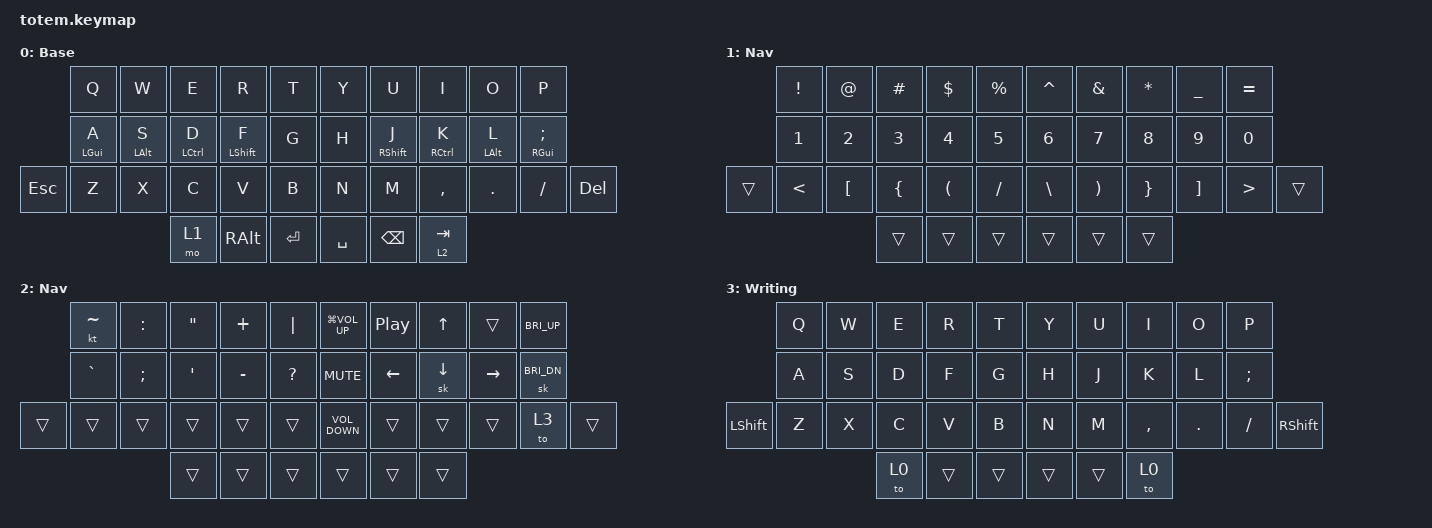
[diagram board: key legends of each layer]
//
//                                                        ▀▀▀▀▀     ▀▀▀▀▀          ▀▀█▀▀
//                                                        ▄▀▀▀▄  ▄  ▄▀▀▀▄  ▄  ▄▀▀▀▄  █  ▄▀▀▀▄
//                                                        █   █  █  █   █  █  █   █  █  █   █
//                                                         ▀▀▀   █   ▀▀▀   █   ▀▀▀   ▀   ▀▀▀
//                                                               █      ▄▄▄█▄▄▄    █   █  
//                                                               ▀      █  █  █     █▄█
//                                                             ▀▀▀▀▀    █  █  █      ▀
//                                                                      ▀  ▀  ▀
//
// ▄▄▄▄▄▄▄▄▄▄▄▄▄▄▄▄▄▄▄▄▄▄▄▄▄▄▄▄▄▄▄▄▄▄▄▄▄▄▄▄▄▄▄▄▄▄▄▄▄▄▄▄▄▄▄▄▄▄▄▄▄▄▄▄▄▄▄▄▄▄▄▄▄▄▄▄▄▄▄▄▄▄▄▄▄▄▄▄▄▄▄▄▄▄▄▄▄▄▄▄▄▄▄▄▄▄▄▄▄▄▄▄▄▄▄▄▄▄▄▄▄▄▄▄▄▄▄▄▄▄▄▄▄▄▄▄▄▄▄▄▄▄▄▄▄▄▄▄▄

#include <behaviors.dtsi>
#include <dt-bindings/zmk/keys.h>

#define Base        0
#define Nav         1
#define Sym         2
#define Fun         3
#define Game        4
#define Gameplus    5

&mt {
    quick-tap-ms = <100>;
    global-quick-tap;
    flavor = "tap-preferred";
    tapping-term-ms = <170>;
};

&lt {
    tapping-term-ms = <240>;
    flavor = "balanced";
    quick-tap-ms = <150>;
};

/ {
    behaviors {
        hm: homerow_mods {
            compatible = "zmk,behavior-hold-tap";
            label = "HOMEROW_MODS";
            #binding-cells = <2>;
            flavor = "tap-preferred";
            tapping-term-ms = <150>;
            quick-tap-ms = <125>;
            global-quick-tap;
            bindings = <&kp>, <&kp>;

            require-prior-idle-ms = <120>;
        };
    };

    combos { compatible = "zmk,combos"; };

    keymap {
        compatible = "zmk,keymap";

        Base {
            display-name = "Base";
            bindings = <
            &kp Q       &kp W       &kp E        &kp R         &kp T        &kp Y      &kp U          &kp I        &kp O       &kp P
            &hm LGUI A  &hm LALT S  &hm LCTRL D  &hm LSHIFT F  &kp G        &kp H      &hm RSHFT J    &hm RCTRL K  &hm LALT L  &hm RGUI SEMICOLON
&kp ESCAPE  &kp Z       &kp X       &kp C        &kp V         &kp B        &kp N      &kp M          &kp COMMA    &kp DOT     &kp SLASH           &kp DEL
                                    &mo 1        &kp RALT      &kp ENTER    &kp SPACE  &kp BACKSPACE  &lt 2 TAB
            >;
        };

        Sym {
            display-name = "Nav";
            bindings = <
        &kp EXCLAMATION  &kp AT_SIGN       &kp HASH        &kp DOLLAR            &kp PERCENT     &kp CARET     &kp AMPERSAND          &kp ASTERISK     &kp UNDERSCORE     &kp EQUAL
        &kp NUMBER_1     &kp NUMBER_2      &kp NUMBER_3    &kp NUMBER_4          &kp NUMBER_5    &kp NUMBER_6  &kp N7                 &kp NUMBER_8     &kp N9             &kp NUMBER_0
&trans  &kp LESS_THAN    &kp LEFT_BRACKET  &kp LEFT_BRACE  &kp LEFT_PARENTHESIS  &kp SLASH       &kp BSLH      &kp RIGHT_PARENTHESIS  &kp RIGHT_BRACE  &kp RIGHT_BRACKET  &kp GREATER_THAN  &trans
                                           &trans          &trans                &trans          &trans        &trans                 &trans
            >;
        };

        Nav {
            bindings = <
        &kt TILDE  &kp COLON      &kp DOUBLE_QUOTES  &kp PLUS   &kp PIPE        &kp LG(C_VOLUME_UP)  &kp C_PLAY_PAUSE  &kp UP_ARROW    &trans     &kp C_BRI_UP
        &kp GRAVE  &kp SEMICOLON  &kp SQT            &kp MINUS  &kp QUESTION    &kp C_MUTE           &kp LEFT          &sk DOWN_ARROW  &kp RIGHT  &sk C_BRI_DN
&trans  &trans     &trans         &trans             &trans     &trans          &kp C_VOLUME_DOWN    &trans            &trans          &trans     &to 3         &trans
                                  &trans             &trans     &trans          &trans               &trans            &trans
            >;
        };

        Writing {
            bindings = <
                &kp Q  &kp W  &kp E  &kp R   &kp T     &kp Y   &kp U   &kp I      &kp O    &kp P
                &kp A  &kp S  &kp D  &kp F   &kp G     &kp H   &kp J   &kp K      &kp L    &kp SEMI
&kp LEFT_SHIFT  &kp Z  &kp X  &kp C  &kp V   &kp B     &kp N   &kp M   &kp COMMA  &kp DOT  &kp FSLH  &kp RIGHT_SHIFT
                              &to 0  &trans  &trans    &trans  &trans  &to 0
            >;
        };
    };
};
